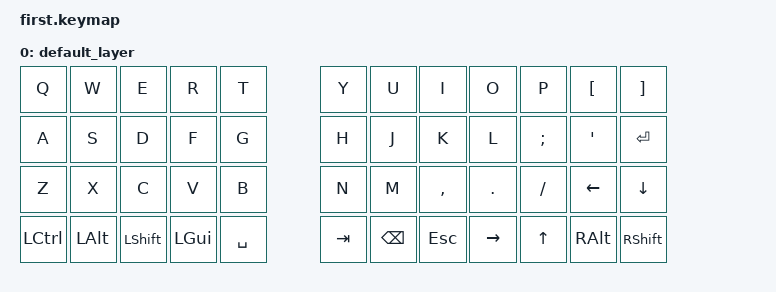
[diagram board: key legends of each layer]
// This file was generated from a template. Edit it to match your keyboard.
// See https://zmk.dev/docs/development/hardware-integration/new-shield for more instructions.

#include <behaviors.dtsi>
#include <dt-bindings/zmk/keys.h>
#include <dt-bindings/zmk/bt.h>
#include <dt-bindings/zmk/ext_power.h>

/ {
    keymap {
        compatible = "zmk,keymap";

        default_layer {
            bindings = <
                &kp Q &kp W &kp E &kp R &kp T &kp Y   &kp U &kp I &kp O &kp P &kp LBKT &kp RBKT
                &kp A &kp S &kp D &kp F &kp G &kp H   &kp J &kp K &kp L &kp SEMI &kp SQT &kp ENTER
                &kp Z &kp X &kp C &kp V &kp B &kp N   &kp M &kp COMMA &kp DOT &kp SLASH &kp LEFT &kp DOWN
                &kp LCTRL &kp LALT &kp LSHIFT &kp LGUI &kp SPACE &kp TAB &kp BSPC &kp ESC &kp RIGHT &kp UP &kp RALT &kp RSHIFT
            >;
        };
    };
};
